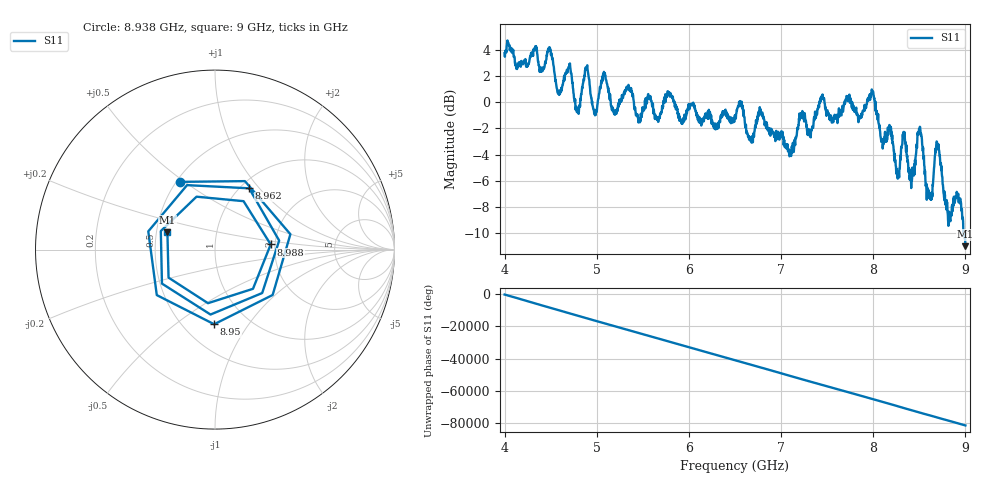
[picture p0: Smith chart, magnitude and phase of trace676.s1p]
! Created with skrf 1.8.0 (http://scikit-rf.org).
# Hz S RI R 50.0
!freq ReS11 ImS11
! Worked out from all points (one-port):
!   1601 points, 4 GHz to 9 GHz, reference 50 ohm
!   lowest |S11| = -11.0 dB at 9 GHz (marker M1), VSWR 1.78, Z = 28.6 + j5.93 ohm
!   |S11| at or under -10 dB: 8.979259 GHz to end of sweep
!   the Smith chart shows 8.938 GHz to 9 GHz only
!   S11 on the Smith chart (normalised r, x): 8.938 GHz: 0.52, +0.48; 8.95 GHz: 0.70, -0.70; 8.962 GHz: 1.10, +0.88; 8.988 GHz: 1.89, +0.12; 9 GHz: 0.57, +0.12
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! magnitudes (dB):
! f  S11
! 4 GHz  3.7
! 4.488 GHz  3.9
! 4.625 GHz  1.2
! 4.703 GHz  2.9
! 4.794 GHz  -0.5
! 4.891 GHz  2.7
! 4.978 GHz  -0.8
! 5.078 GHz  2.3
! 5.25 GHz  0.1
! 5.875 GHz  -0.5
! 6.5 GHz  -1.1
! 7.125 GHz  -3.5
! 7.219 GHz  -0.8
! 7.75 GHz  0.3
! 7.988 GHz  0.8
! 8.259 GHz  -5.3
! 8.328 GHz  -2.3
! 8.375 GHz  -4.5
! 8.425 GHz  -5.0
! 8.506 GHz  -1.9
! 8.606 GHz  -6.9
! 8.697 GHz  -3.4
! 8.812 GHz  -9.0
! 8.938 GHz  -7.4
! 8.95 GHz  -7.6
! 8.962 GHz  -8.2
! 8.988 GHz  -10.1
! 9 GHz  -11.0
